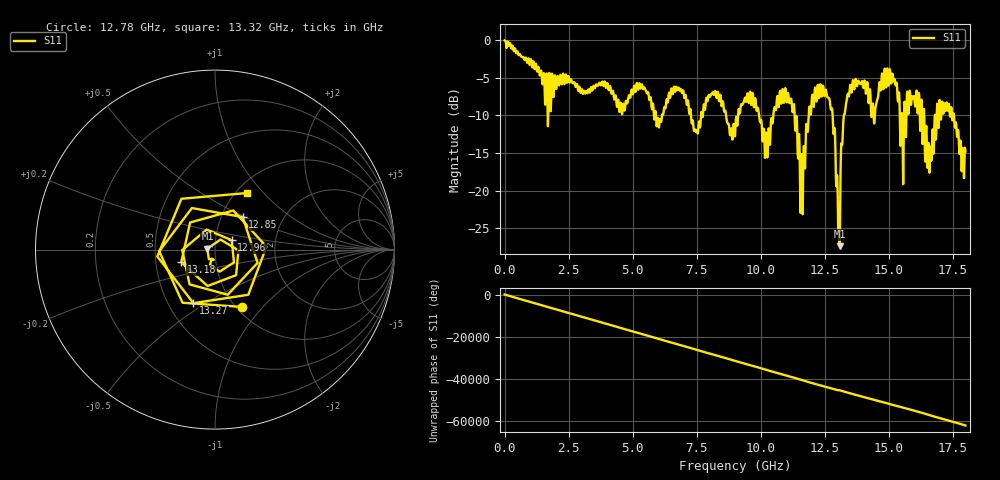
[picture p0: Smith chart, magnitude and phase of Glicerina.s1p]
!Keysight Technologies N9917A: A.12.46
!Date: Friday, 22 December 2023 20:19:52
!TimeZone: (UTC-03:00) Buenos Aires!Model: N9917A
!Serial: MY56072049
!GPS Latitude:
!GPS Longitude:
!GPS TimeStamp: 0001-01-01 00:00:00Z
!GPS Seconds Since Last Read: 0
!CHECKSUM:1915109879
!Correction: S11(Rdy)
!S1P File: Measurement: S11:
# Hz S RI R 50
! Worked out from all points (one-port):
!   1001 points, 30 kHz to 18 GHz, reference 50 ohm
!   lowest |S11| = -27.4 dB at 13.09 GHz (marker M1), VSWR 1.09, Z = 45.9 + j0.529 ohm
!   |S11| at or under -10 dB: 8.651 GHz to 9.12 GHz (469.1 MHz wide, 5.28 % of centre); 9.941 GHz to 10.5 GHz (557 MHz wide, 5.45 % of centre); 11.33 GHz to 11.88 GHz (548.2 MHz wide, 4.72 % of centre) (the widest 3 of 23)
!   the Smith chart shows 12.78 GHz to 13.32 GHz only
!   S11 on the Smith chart (normalised r, x): 12.78 GHz: 1.06, -0.78; 12.85 GHz: 1.26, +0.48; 12.96 GHz: 1.20, +0.13; 13.18 GHz: 0.68, -0.10; 13.27 GHz: 0.67, -0.44; 13.32 GHz: 1.12, +0.81
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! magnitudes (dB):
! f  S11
! 30 kHz  0.0
! 2.25 GHz  -5.5
! 4.5 GHz  -9.5
! 5.328 GHz  -6.3
! 6.03 GHz  -11.6
! 6.75 GHz  -6.6
! 7.47 GHz  -12.2
! 8.154 GHz  -7.0
! 9 GHz  -12.8
! 9.63 GHz  -8.5
! 10.26 GHz  -15.6
! 10.69 GHz  -8.7
! 11.25 GHz  -9.6
! 11.63 GHz  -21.2
! 12.08 GHz  -8.9
! 12.78 GHz  -9.0
! 12.85 GHz  -12.5
! 12.96 GHz  -19.4
! 13.09 GHz  -27.4
! 13.18 GHz  -13.9
! 13.27 GHz  -9.9
! 13.32 GHz  -8.9
! 13.5 GHz  -5.9
! 15.75 GHz  -8.0
! 16.13 GHz  -9.6
! 16.6 GHz  -17.6
! 17.28 GHz  -8.5
! 18 GHz  -14.8
